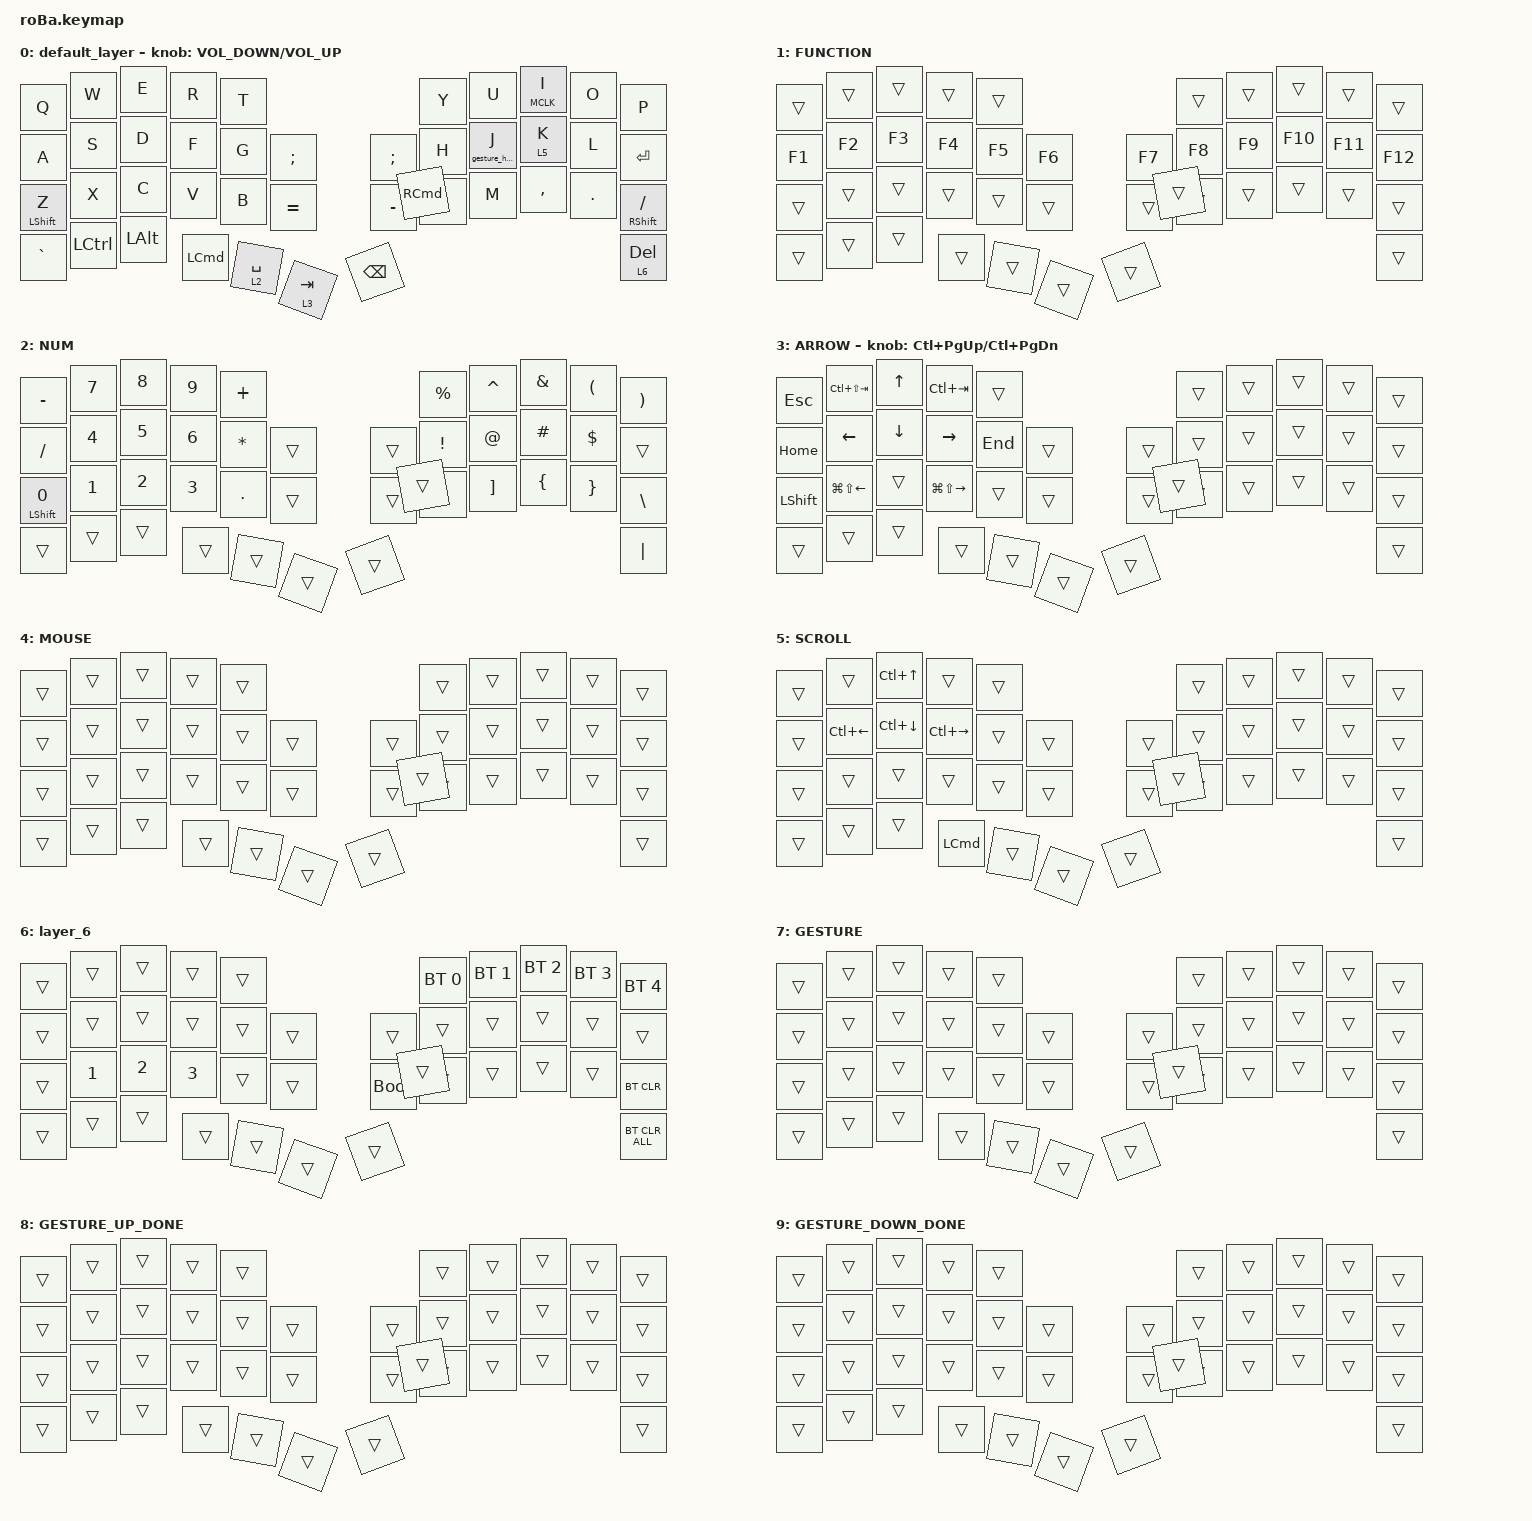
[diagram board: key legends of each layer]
#include <behaviors.dtsi>
#include <dt-bindings/zmk/bt.h>
#include <dt-bindings/zmk/keys.h>
#include <dt-bindings/zmk/modifiers.h>
#include <dt-bindings/zmk/pointing.h>
#include <input/processors.dtsi>
#include <scroll-snap.dtsi>

&mt {
    flavor = "balanced";
    quick-tap-ms = <0>;
};

&trackball {
    // automouse-layer = <4>;

    // スクロールはドライバではなく下の &trackball_listener (scroller) で処理するので
    // ドライバ側の scroll-layers は使わない (有効にすると慣性スクロールが効かなくなる)。
    // scroll-layers = <5>;

    // arrows {
    //     layers = <3>;
    //     bindings =
    //         <&kp RIGHT_ARROW>,
    //         <&kp LEFT_ARROW>,
    //         <&kp UP_ARROW>,
    //         <&kp DOWN_ARROW>;
    //     tick = <10>;
    //     wait-ms = <5>;
    //     tap-ms = <5>;
    // };
};

// ---------------------------------------------------------------------------
// 慣性スクロール (mjmjm0101/zmk-input-processor-scroll-inertia)
// SCROLL レイヤー (5) でボールを弾いて離すと、スクロールが減衰しながら続く。
// ---------------------------------------------------------------------------
&scroll_inertia {
    layer = <5>;      // SCROLL レイヤー番号。レイヤーを離した瞬間に慣性も止まる

    // 0 = 縦横両方に慣性 (軸の振り分けは手前の zip_scroll_snap が行う)
    // 1 = 縦のみ, 2 = 横のみ
    axis = <0>;

    // 後段の zip_scroll_scaler の引数 (1 20) と必ず同じ値にする。
    // 20 カウント (約 0.6mm) で 1 ノッチ。小さな回転にもすぐ反応する比率。
    // スクロール量を変えるときは scale-div と zip_scroll_scaler の第 2 引数を
    // 同時に変える (小さいほど速い)。
    scale = <1>;
    scale-div = <20>;

    // フリック判定のしきい値 (モジュール既定は start 40 / move 80)。
    // 弱いフリックでも慣性が付くように低めにしている。
    // ゆっくりスクロールしただけで慣性が付く → 両方を上げる
    // ちゃんと弾いても慣性が付かない → 両方を下げる
    start = <14>;     // ピーク速度 (カウント/フレーム)
    move = <40>;      // フリック中の合計移動量 (カウント)

    // 短いフリックを拾うために、慣性が付く前に必要なイベント数を減らしている (既定 10)
    min-events = <5>;

    // 「離した」と判定する減速の度合い (既定 850 = ピークの 85% 未満)。
    // 低くすると、ゆっくり回して減速しただけでは慣性が付かず、本当に離したときだけ付く。
    decel-ratio = <750>;

    // 慣性が止まる速度。scale 1 / scale-div 20 なら 1 前後が目安
    // (下げると末尾がカクつくので、末尾が気になるときは上げる)
    stop = <1>;

    // 減衰の強さ (既定 990): 995 にすると長く滑り、980 にすると早く止まる
    decay-fast = <993>;
    decay-slow = <993>;
    decay-tail = <993>;
    // 小さなフリックのブレーキ (既定 35): 上げる (例 100) と小さなフリックが早めに止まる
    friction = <25>;
};

// ---------------------------------------------------------------------------
// スクロールの軸スナップ (kot149/zmk-scroll-snap)
// ボールの動きを縦か横の強い方に寄せ、しばらくその方向にロックする。
// 縦に転がしているときに横成分が混ざっても斜めに流れないようにするための処理。
// ---------------------------------------------------------------------------
&zip_scroll_snap {
    // |y/x| が 5/8 未満なら横、それ以上なら縦 (角度でいうと約 32° が境界)。
    // 横に寄せるには意識してほぼ真横に転がす必要がある。横を出しやすくしたければ両方を 1 1 にする
    x-threshold = <5 8>;
    y-threshold = <5 8>;

    require-n-samples = <6>;          // 方向を決めるまでに見るイベント数 (X, Y で 2 個/フレームなので 3 フレーム分)
    immediate-snap-threshold = <40>;  // これだけ動いたら上のイベント数を待たずに決める
    lock-duration-ms = <200>;         // 決めた方向を維持する時間 (同じ方向の入力があれば延長)
    idle-reset-timeout-ms = <200>;    // これだけ入力が止まったら次は決め直す
};

// ---------------------------------------------------------------------------
// トラックボールジェスチャー (zettaface/zmk-input-processor-keybind)
// GESTURE レイヤー (7, J 長押し) でボールを弾くと方向に応じたキーを送る。
// 左右 (trackball_gesture) と上下 (trackball_gesture_v) は別のプロセッサで判定する。
//   左右: J を押している間は何度でも発火する (右→左の往復ができる)
//   上下: 同じ方向は連続で発火しない (Mission Control はトグルなので、1 回の
//         フリックで 2 回発火すると開いてすぐ閉じてしまうため)。
//         上に弾くと GESTURE_UP_DONE レイヤー (8) が有効になり、上は無視・下は有効。
//         下に弾くと GESTURE_DOWN_DONE レイヤー (9) が有効になり、下は無視・上は有効。
//         なので「上で Mission Control を開いて、下で閉じる」ができる。
//         このレイヤーはボールが止まって 300ms 経つと自動で外れる (J を離しても外れる) ので、
//         少し間を置けば同じ方向をもう一度弾ける (デスクトップ表示を下→下で開閉するなど)。
// ---------------------------------------------------------------------------
&trackball_gesture {
    mode = <1>;       // 0 = 生の XY, 1 = 上下左右の 4 方向判定, 2 = 斜め込みの 8 方向判定

    // 順番は 右, 左, 上, 下。上下はこちらでは扱わない (&none)
    bindings = <&kp LC(LEFT_ARROW)>,    // 右: 前のデスクトップ (トラックパッドのスワイプと同じ向き)
               <&kp LC(RIGHT_ARROW)>,   // 左: 次のデスクトップ
               <&none>,
               <&none>;

    tick = <300>;     // 1 回発火するのに必要な移動量 (カウント)。小さくすると敏感になる
    tap-ms = <30>;    // キーを押してから離すまでの時間
    wait-ms = <0>;    // 連続発火の間隔 (大きくすると発火中に処理が止まるので 0 推奨)
    threshold = <0>;  // 0 にしないと横方向のみの動きが取りこぼされる
    max_threshold = <2000>;         // これより大きい 1 フレームの動きは無視
    max_pending_activations = <1>;  // 1 回のフリックで溜め込む発火数
};

&trackball_gesture_v {
    mode = <1>;

    // 順番は 右, 左, 上 (ボールを奥へ), 下 (ボールを手前へ)。左右はこちらでは扱わない (&none)
    // 上下が逆になる場合は 3 つ目と 4 つ目を入れ替える。
    // 割り当てを変えるときは macros 内の gesture_up / gesture_down を編集する
    bindings = <&none>,
               <&none>,
               <&gesture_up>,     // 上: Mission Control
               <&gesture_down>;   // 下: デスクトップを表示 (F11)

    tick = <300>;     // 判定前に縦方向を 2 倍しているので、実際は 150 カウントで発火する
    tap-ms = <30>;
    wait-ms = <0>;
    threshold = <0>;
    max_threshold = <2000>;         // 縦は 2 倍された値で比較される
    max_pending_activations = <1>;
};

// 上に弾いた後 (レイヤー 8) 用: 下だけ受け付ける。設定は trackball_gesture_v と同じにする
&trackball_gesture_down_only {
    mode = <1>;
    bindings = <&none>, <&none>, <&none>, <&gesture_down>;
    tick = <300>;
    tap-ms = <30>;
    wait-ms = <0>;
    threshold = <0>;
    max_threshold = <2000>;
    max_pending_activations = <1>;
};

// 下に弾いた後 (レイヤー 9) 用: 上だけ受け付ける
&trackball_gesture_up_only {
    mode = <1>;
    bindings = <&none>, <&none>, <&gesture_up>, <&none>;
    tick = <300>;
    tap-ms = <30>;
    wait-ms = <0>;
    threshold = <0>;
    max_threshold = <2000>;
    max_pending_activations = <1>;
};

// ---------------------------------------------------------------------------
// レイヤーごとのトラックボール処理
// 該当レイヤーが有効な間はデフォルトのカーソル移動の代わりにこちらが使われる。
// ---------------------------------------------------------------------------
&trackball_listener {
    scroller {
        layers = <5>;   // SCROLL レイヤー
        input-processors = <
            &zip_y_scaler (-1) 1          // 縦方向の反転 (逆にしたい場合は 1 1)
            &zip_xy_to_scroll_mapper      // XY の動きをホイール入力へ変換
            &zip_scroll_snap              // 縦か横の強い方に寄せる
            &scroll_inertia               // 慣性
            &zip_scroll_scaler 1 20       // スクロール速度 (20 カウントで 1 ノッチ)。&scroll_inertia の scale / scale-div と合わせる
        >;
    };

    // 注意: ZMK の input-listener は、レイヤー別チェーンのプロセッサが STOP を返しても
    // それを無視してイベントを HID に流してしまう。そのためカーソルを止めるには
    // 「捨てる」のではなく、&zip_xy_scaler 0 1 で移動量を 0 に書き換える必要がある。

    // 各チェーンは上から順に評価され、process-next の付いたものは次にも流れる。
    // 上に弾いた後 (レイヤー 8): 左右と下だけ判定し、移動量を 0 にする。
    // zip_temp_layer は「最後のボール入力から 300ms」でレイヤー 8 を自動解除する。
    // (ZMK の temp-layer はインスタンスを 1 つしか作れないので、レイヤー 9 と共用している)
    gesture_up_done_h {
        layers = <8>;   // GESTURE_UP_DONE レイヤー
        process-next;
        input-processors = <
            &zip_temp_layer 8 300
            &trackball_gesture
        >;
    };

    gesture_up_done_v {
        layers = <8>;
        process-next;
        input-processors = <
            &zip_y_scaler 2 1
            &trackball_gesture_down_only
        >;
    };

    gesture_up_done_guard {
        layers = <8>;
        input-processors = <&zip_xy_scaler 0 1>;
    };

    // 下に弾いた後 (レイヤー 9): 左右と上だけ判定し、移動量を 0 にする。
    // zip_temp_layer は「最後のボール入力から 300ms」でレイヤー 9 を自動解除する。
    gesture_down_done_h {
        layers = <9>;   // GESTURE_DOWN_DONE レイヤー
        process-next;
        input-processors = <
            &zip_temp_layer 9 300
            &trackball_gesture
        >;
    };

    gesture_down_done_v {
        layers = <9>;
        process-next;
        input-processors = <
            &zip_y_scaler 2 1
            &trackball_gesture_up_only
        >;
    };

    gesture_down_done_guard {
        layers = <9>;
        input-processors = <&zip_xy_scaler 0 1>;
    };

    // J を押している間 (1/3): 左右ジェスチャー判定 (縦方向は等倍のまま)。
    gesture_h {
        layers = <7>;   // GESTURE レイヤー
        process-next;
        input-processors = <&trackball_gesture>;
    };

    // J を押している間 (2/3): 上下ジェスチャー判定。
    gesture_v {
        layers = <7>;
        process-next;
        input-processors = <
            &zip_y_scaler 2 1       // 縦方向の動きを 2 倍にして判定に渡す (34mm ボール用。Coropit のときは 4 倍だった)。
                                    // 実質 tick÷2 で発火する。上下に誤爆するなら 1 1、上下が出にくければ 3 1 にする
            &trackball_gesture_v
        >;
    };

    // J を押している間 (3/3): 判定が終わった後の移動量を 0 にしてカーソルを止める。
    // J を離した瞬間に通常のカーソル操作に戻る。
    gesture_guard {
        layers = <7>;
        input-processors = <&zip_xy_scaler 0 1>;
    };
};

/ {
    combos {
        compatible = "zmk,combos";

        screen_shot {
            bindings = <&kp LS(LC(LG(NUMBER_4)))>;
            key-positions = <11 13>;
        };

        shift_tab {
            bindings = <&kp LS(TAB)>;
            key-positions = <12 13>;
        };

        tab {
            bindings = <&to_layer_0 TAB>;
            key-positions = <11 12>;
        };

        shift_command {
            bindings = <&kp LS(LEFT_COMMAND)>;
            key-positions = <18 20>;
        };

        left_click {
            bindings = <&mkp LCLK>;
            key-positions = <18 19>;
        };

        right_click {
            bindings = <&mkp RCLK>;
            key-positions = <19 20>;
        };
    };

    macros {
        to_layer_0: to_layer_0 {
            compatible = "zmk,behavior-macro-one-param";
            #binding-cells = <1>;
            bindings = <&to 0 &macro_param_1to1 &kp MACRO_PLACEHOLDER>;
            label = "TO_LAYER_0";
        };

        // J 長押し用: 押している間 GESTURE レイヤー (7) を有効にし、
        // 離したときに GESTURE (7), GESTURE_UP_DONE (8), GESTURE_DOWN_DONE (9) を全て解除する。
        gesture_hold: gesture_hold {
            compatible = "zmk,behavior-macro";
            #binding-cells = <0>;
            wait-ms = <0>;
            tap-ms = <0>;
            bindings = <&macro_press &mo 7>,
                       <&macro_pause_for_release>,
                       <&macro_release &mo 7>,
                       <&macro_release &mo 8>,
                       <&macro_release &mo 9>;
            label = "GESTURE_HOLD";
        };

        // 上下ジェスチャー: まず「同じ方向を無視する」レイヤーに切り替えてからキーを送る。
        // 順番が逆だと、キー送信中に届いたボールの動きで 2 回目が発火して
        // Mission Control が開いてすぐ閉じてしまう。J を離すとレイヤーは解除される。
        gesture_up: gesture_up {
            compatible = "zmk,behavior-macro";
            #binding-cells = <0>;
            wait-ms = <0>;
            tap-ms = <30>;
            bindings = <&macro_press &mo 8>,
                       <&macro_release &mo 9>,
                       <&macro_tap &kp LC(UP_ARROW)>;
            label = "GESTURE_UP";
        };

        gesture_down: gesture_down {
            compatible = "zmk,behavior-macro";
            #binding-cells = <0>;
            wait-ms = <0>;
            tap-ms = <30>;
            // 下は「デスクトップを表示」(F11)。以前は App Expose (Ctrl+↓) だったが、
            // App Expose を開く瞬間に macOS の Dock がデッドロックして再起動が必要になる
            // 事象が起きたため変更した。
            bindings = <&macro_press &mo 9>,
                       <&macro_release &mo 8>,
                       <&macro_tap &kp F11>;
            label = "GESTURE_DOWN";
        };
    };

    behaviors {
        lt_to_layer_0: lt_to_layer_0 {
            compatible = "zmk,behavior-hold-tap";
            label = "LAYER_TAP_TO_0";
            bindings = <&mo>, <&to_layer_0>;

            #binding-cells = <2>;
            tapping-term-ms = <200>;
        };

        // ジェスチャーレイヤー用の layer-tap。
        // - tapping-term-ms: これ以上押し続けるとジェスチャーレイヤーになる。
        //   短くすると「じ」と打つときに j が落ちやすくなるので 200 前後が目安。
        // - require-prior-idle-ms: 直前にこの時間以内に別のキーを打っていたら
        //   必ず文字 (タップ) として扱う。文章を打っている最中に長押し扱いになるのを防ぐ。
        //   ジェスチャーは手を止めてから J を押せば効く。
        // マウスボタンの hold-tap。長押しでマウスボタンを押しっぱなし、タップで文字。
        // 例: &mt_mkp MCLK I → I 長押しで中クリック (Figma でキャンバスを掴んで移動できる)
        mt_mkp: mt_mkp {
            compatible = "zmk,behavior-hold-tap";
            label = "MOD_TAP_MOUSE_BUTTON";
            bindings = <&mkp>, <&kp>;

            #binding-cells = <2>;
            flavor = "tap-preferred";
            tapping-term-ms = <200>;
            quick-tap-ms = <150>;
            require-prior-idle-ms = <125>;
        };

        // 使い方: &lt_gesture 0 J (最初の引数は使わないので 0)
        lt_gesture: lt_gesture {
            compatible = "zmk,behavior-hold-tap";
            label = "LAYER_TAP_GESTURE";
            bindings = <&gesture_hold>, <&kp>;

            #binding-cells = <2>;
            flavor = "tap-preferred";
            tapping-term-ms = <200>;
            quick-tap-ms = <150>;
            require-prior-idle-ms = <125>;
        };
    };

    keymap {
        compatible = "zmk,keymap";

        default_layer {
            bindings = <
&kp Q             &kp W             &kp E         &kp R                          &kp T                                          &kp Y              &kp U  &mt_mkp MCLK I  &kp O       &kp P
&kp A             &kp S             &kp D         &kp F                          &kp G        &kp SEMICOLON      &kp SEMI       &kp H              &lt_gesture 0 J  &lt 5 K    &kp L       &kp ENTER
&mt LEFT_SHIFT Z  &kp X             &kp C         &kp V                          &kp B        &kp EQUAL          &kp MINUS      &kp N              &kp M  &kp COMMA  &kp PERIOD  &mt RIGHT_SHIFT SLASH
&kp GRAVE         &kp LEFT_CONTROL  &kp LEFT_ALT  &kp LEFT_COMMAND               &lt 2 SPACE  &lt 3 TAB          &kp BACKSPACE  &kp RIGHT_COMMAND                                &lt 6 DEL
            >;

            sensor-bindings = <&inc_dec_kp C_VOLUME_DOWN C_VOLUME_UP>;
        };

        FUNCTION {
            bindings = <
&trans  &trans  &trans  &trans  &trans                      &trans  &trans  &trans   &trans   &trans
&kp F1  &kp F2  &kp F3  &kp F4  &kp F5  &kp F6      &kp F7  &kp F8  &kp F9  &kp F10  &kp F11  &kp F12
&trans  &trans  &trans  &trans  &trans  &trans      &trans  &trans  &trans  &trans   &trans   &trans
&trans  &trans  &trans  &trans  &trans  &trans      &trans  &trans                            &trans
            >;
        };

        NUM {
            bindings = <
&kp MINUS          &kp N7        &kp N8        &kp N9        &kp PLUS                          &kp PERCENT       &kp CARET          &kp AMPERSAND   &kp LEFT_PARENTHESIS  &kp RIGHT_PARENTHESIS
&kp SLASH          &kp NUMBER_4  &kp N5        &kp NUMBER_6  &kp ASTERISK  &trans      &trans  &kp EXCLAMATION   &kp AT_SIGN        &kp HASH        &kp DOLLAR            &trans
&mt LEFT_SHIFT N0  &kp NUMBER_1  &kp NUMBER_2  &kp NUMBER_3  &kp PERIOD    &trans      &trans  &kp LEFT_BRACKET  &kp RIGHT_BRACKET  &kp LEFT_BRACE  &kp RIGHT_BRACE       &kp BACKSLASH
&trans             &trans        &trans        &trans        &trans        &trans      &trans  &trans                                                                     &kp PIPE
            >;
        };

        ARROW {
            bindings = <
&kp ESCAPE      &kp LC(LS(TAB))         &kp UP_ARROW    &kp LC(TAB)              &trans                       &trans  &trans  &trans  &trans  &trans
&kp HOME        &kp LEFT_ARROW          &kp DOWN_ARROW  &kp RIGHT_ARROW          &kp END  &trans      &trans  &trans  &trans  &trans  &trans  &trans
&kp LEFT_SHIFT  &kp LG(LS(LEFT_ARROW))  &trans          &kp LG(LS(RIGHT_ARROW))  &trans   &trans      &trans  &trans  &trans  &trans  &trans  &trans
&trans          &trans                  &trans          &trans                   &trans   &trans      &trans  &trans                          &trans
            >;

            sensor-bindings = <&inc_dec_kp LC(PAGE_UP) LC(PAGE_DOWN)>;
        };

        MOUSE {
            bindings = <
&trans  &trans  &trans  &trans  &trans                      &trans  &trans  &trans  &trans  &trans
&trans  &trans  &trans  &trans  &trans  &trans      &trans  &trans  &trans  &trans  &trans  &trans
&trans  &trans  &trans  &trans  &trans  &trans      &trans  &trans  &trans  &trans  &trans  &trans
&trans  &trans  &trans  &trans  &trans  &trans      &trans  &trans                          &trans
            >;
        };

        // 左親指の Cmd 位置を素の Cmd にしている: K + Cmd + ボールで Cmd+ホイール (Figma などのズーム)
        SCROLL {
            bindings = <
&trans  &trans              &kp LC(UP_ARROW)    &trans               &trans                      &trans  &trans  &trans  &trans  &trans
&trans  &kp LC(LEFT_ARROW)  &kp LC(DOWN_ARROW)  &kp LC(RIGHT_ARROW)  &trans  &trans      &trans  &trans  &trans  &trans  &trans  &trans
&trans  &trans              &trans              &trans               &trans  &trans      &trans  &trans  &trans  &trans  &trans  &trans
&trans  &trans              &trans              &kp LEFT_COMMAND     &trans  &trans      &trans  &trans                          &trans
            >;
        };

        layer_6 {
            bindings = <
&trans  &trans        &trans        &trans        &trans                           &bt BT_SEL 0  &bt BT_SEL 1  &bt BT_SEL 2  &bt BT_SEL 3  &bt BT_SEL 4
&trans  &trans        &trans        &trans        &trans  &trans      &trans       &trans        &trans        &trans        &trans        &trans
&trans  &kp NUMBER_1  &kp NUMBER_2  &kp NUMBER_3  &trans  &trans      &bootloader  &trans        &trans        &trans        &trans        &bt BT_CLR
&trans  &trans        &trans        &trans        &trans  &trans      &trans       &trans                                                  &bt BT_CLR_ALL
            >;
        };

        GESTURE {
            bindings = <
&trans  &trans  &trans  &trans  &trans                      &trans  &trans  &trans  &trans  &trans
&trans  &trans  &trans  &trans  &trans  &trans      &trans  &trans  &trans  &trans  &trans  &trans
&trans  &trans  &trans  &trans  &trans  &trans      &trans  &trans  &trans  &trans  &trans  &trans
&trans  &trans  &trans  &trans  &trans  &trans      &trans  &trans                          &trans
            >;
        };

        // 上に弾いた後、J を離すまで上を無視するためのレイヤー (キーは全て透過)
        GESTURE_UP_DONE {
            bindings = <
&trans  &trans  &trans  &trans  &trans                      &trans  &trans  &trans  &trans  &trans
&trans  &trans  &trans  &trans  &trans  &trans      &trans  &trans  &trans  &trans  &trans  &trans
&trans  &trans  &trans  &trans  &trans  &trans      &trans  &trans  &trans  &trans  &trans  &trans
&trans  &trans  &trans  &trans  &trans  &trans      &trans  &trans                          &trans
            >;
        };

        // 下に弾いた後、J を離すまで下を無視するためのレイヤー (キーは全て透過)
        GESTURE_DOWN_DONE {
            bindings = <
&trans  &trans  &trans  &trans  &trans                      &trans  &trans  &trans  &trans  &trans
&trans  &trans  &trans  &trans  &trans  &trans      &trans  &trans  &trans  &trans  &trans  &trans
&trans  &trans  &trans  &trans  &trans  &trans      &trans  &trans  &trans  &trans  &trans  &trans
&trans  &trans  &trans  &trans  &trans  &trans      &trans  &trans                          &trans
            >;
        };
    };
};
